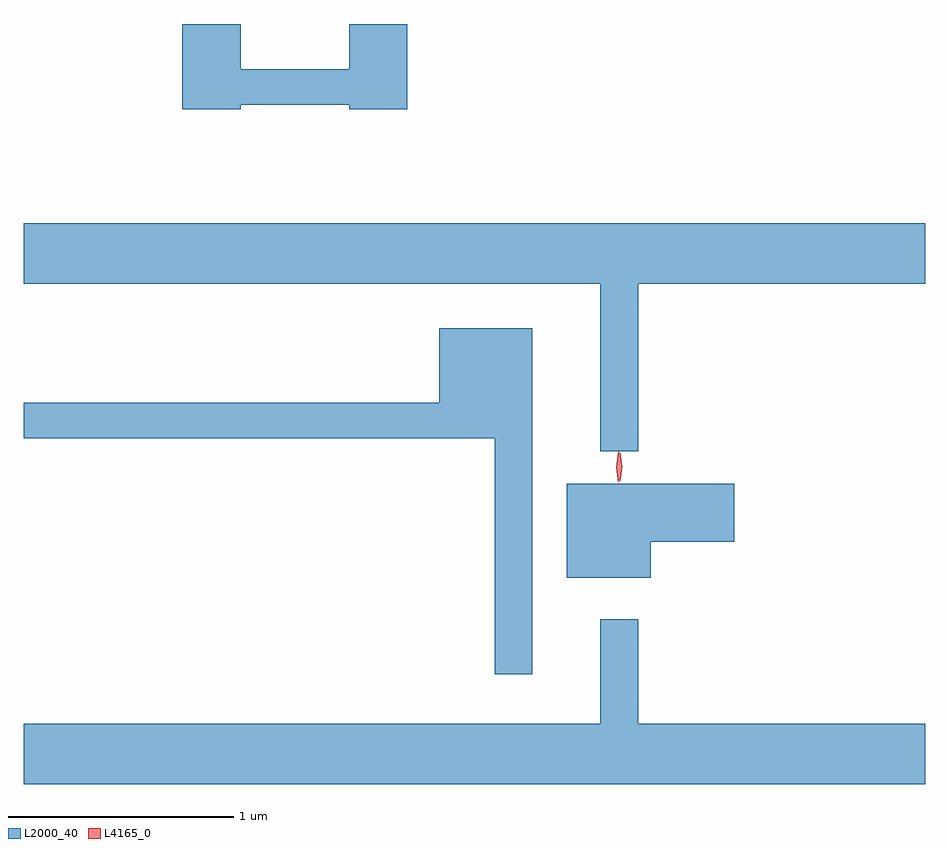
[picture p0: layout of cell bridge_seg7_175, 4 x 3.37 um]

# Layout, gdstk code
import gdstk
lib = gdstk.Library(unit=1e-6, precision=1e-09)
def P(c, l, *ps):  # polygons
    for p in ps: c.add(gdstk.Polygon(p, *l))
L2000_40 = (2000, 40)
L4165_0 = (4165, 0)

bridge_seg7_175 = lib.new_cell('bridge_seg7_175')
P(bridge_seg7_175, L2000_40, [(1528.654,1719.551),(1529.136,1719.551),(1529.136,1719.531),(1529.394,1719.531),(1529.394,1719.909),(1529.136,1719.909),(1529.136,1719.709),(1528.654,1719.709),(1528.654,1719.909),(1528.396,1719.909),(1528.396,1719.531),(1528.654,1719.531)],
  [(1530.419,1718.756),(1531.692,1718.756),(1531.692,1719.024),(1527.692,1719.024),(1527.692,1718.756),(1530.251,1718.756),(1530.251,1718.013),(1530.419,1718.013)],
  [(1529.949,1718.559),(1529.536,1718.559),(1529.536,1718.229),(1527.692,1718.229),(1527.692,1718.071),(1529.781,1718.071),(1529.781,1717.023),(1529.949,1717.023)],
  [(1530.474,1717.611),(1530.844,1717.611),(1530.844,1717.869),(1530.101,1717.869),(1530.101,1717.451),(1530.474,1717.451)],
  [(1531.692,1716.804),(1530.419,1716.804),(1530.419,1717.268),(1530.251,1717.268),(1530.251,1716.804),(1527.692,1716.804),(1527.692,1716.536),(1531.692,1716.536)])
P(bridge_seg7_175, L4165_0, [(1530.33,1717.874),(1530.33,1717.874),(1530.321,1717.942),(1530.331,1718.01),(1530.332,1718.01),(1530.332,1718.01),(1530.341,1717.942),(1530.331,1717.874)],
  [(1530.337,1717.88),(1530.337,1717.88),(1530.327,1717.944),(1530.337,1718.006),(1530.337,1718.007),(1530.338,1718.006),(1530.347,1717.944),(1530.338,1717.88)])

lib.write_gds('bridge_seg7_175.gds')
